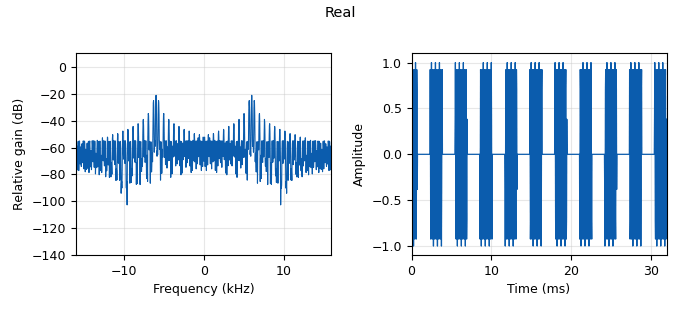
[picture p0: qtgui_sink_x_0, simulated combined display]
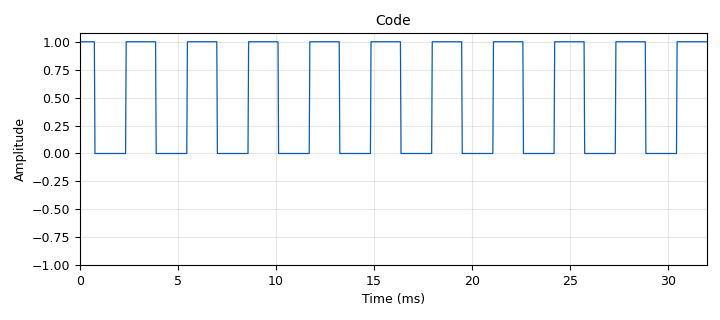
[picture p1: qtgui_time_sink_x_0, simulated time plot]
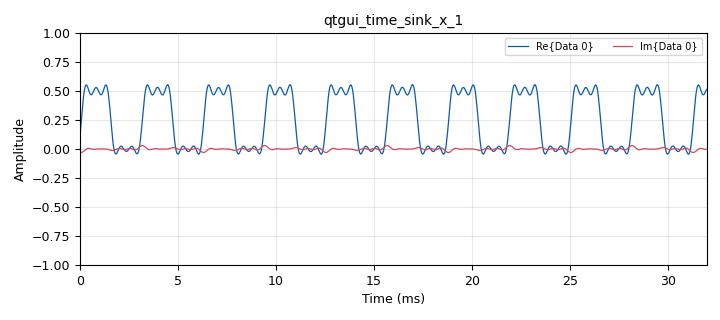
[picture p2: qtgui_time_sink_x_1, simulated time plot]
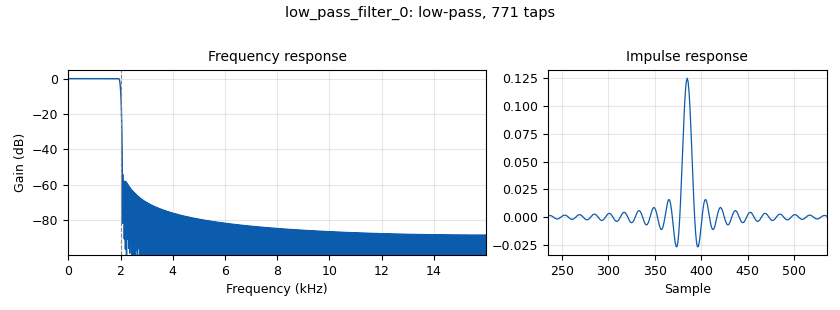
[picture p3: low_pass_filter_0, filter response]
options:
  parameters:
    generate_options: qt_gui
    id: constant
    output_language: python
    title: 01-01 - Sound of the silence
  states: {}

blocks:
- name: samp_rate
  id: variable
  parameters:
    value: '32000'
  states: {}
- name: volume
  id: variable_qtgui_range
  parameters:
    label: Volume
    start: '0'
    step: '0.01'
    stop: '1'
    value: '0'
  states: {}
- name: analog_const_source_x_0
  id: analog_const_source_x
  parameters:
    const: '0'
    type: float
  states: {}
- name: analog_sig_source_x_0
  id: analog_sig_source_x
  parameters:
    amp: '1'
    freq: '6000'
    offset: '0'
    phase: '0'
    samp_rate: samp_rate
    type: float
    waveform: analog.GR_COS_WAVE
  states: {}
- name: analog_sig_source_x_1
  id: analog_sig_source_x
  parameters:
    amp: '1'
    freq: '6000'
    offset: '0'
    phase: '0'
    samp_rate: samp_rate
    type: complex
    waveform: analog.GR_COS_WAVE
  states: {}
- name: audio_sink_0
  id: audio_sink
  parameters:
    device_name: pulse
    samp_rate: samp_rate
  states: {}
- name: blocks_float_to_complex_0
  id: blocks_float_to_complex
  parameters: {}
  states: {}
- name: blocks_multiply_const_vxx_0
  id: blocks_multiply_const_vxx
  parameters:
    const: volume
    type: float
  states: {}
- name: blocks_multiply_xx_0
  id: blocks_multiply_xx
  parameters:
    type: float
  states: {}
- name: blocks_multiply_xx_1
  id: blocks_multiply_xx
  parameters:
    type: complex
  states: {}
- name: blocks_throttle2_0
  id: blocks_throttle2
  parameters:
    samples_per_second: samp_rate
    type: float
  states: {}
- name: blocks_throttle2_1
  id: blocks_throttle2
  parameters:
    samples_per_second: samp_rate
    type: complex
  states: {}
- name: blocks_vector_source_x_0
  id: blocks_vector_source_x
  parameters:
    repeat: 'True'
    type: float
    vector: (0,0,0,0,0,0,0,0,0,0,0,0,0,0,0,0,0,0,0,0,0,0,0,0,0,0,0,0,0,0,0,0,0,0,0,0,0,0,0,0,0,0,0,0,0,0,0,0,0,0,0,1,1,1,1,1,1,1,1,1,1,1,1,1,1,1,1,1,1,1,1,1,1,1,1,1,1,1,1,1,1,1,1,1,1,1,1,1,1,1,1,1,1,1,1,1,1,1,1,1)
  states: {}
- name: low_pass_filter_0
  id: low_pass_filter
  parameters:
    cutoff_freq: 2e3
    decim: '1'
    gain: '1'
    samp_rate: samp_rate
    type: fir_filter_ccf
    width: '100'
    win: window.WIN_HAMMING
  states: {}
- name: qtgui_sink_x_0
  id: qtgui_sink_x
  parameters:
    bw: samp_rate
    fc: '0'
    fftsize: '1024'
    gui_hint: tabs@0
    name: Real
    type: float
  states: {}
- name: qtgui_time_sink_x_0
  id: qtgui_time_sink_x
  parameters:
    gui_hint: tabs@0
    name: Code
    size: '1024'
    srate: samp_rate
    type: float
  states: {}
- name: qtgui_time_sink_x_1
  id: qtgui_time_sink_x
  parameters:
    gui_hint: tabs@1
    size: '1024'
    srate: samp_rate
    tr_level: '0.2'
    tr_mode: qtgui.TRIG_MODE_NORM
    type: complex
  states: {}
- name: tabs
  id: qtgui_tab_widget
  parameters:
    label0: Modulated
    label1: Demodulated
    num_tabs: '2'
  states: {}

connections:
- [analog_const_source_x_0, '0', blocks_float_to_complex_0, '1']
- [analog_sig_source_x_0, '0', blocks_throttle2_0, '0']
- [analog_sig_source_x_1, '0', blocks_throttle2_1, '0']
- [blocks_float_to_complex_0, '0', blocks_multiply_xx_1, '0']
- [blocks_multiply_const_vxx_0, '0', audio_sink_0, '0']
- [blocks_multiply_xx_0, '0', blocks_float_to_complex_0, '0']
- [blocks_multiply_xx_0, '0', blocks_multiply_const_vxx_0, '0']
- [blocks_multiply_xx_0, '0', qtgui_sink_x_0, '0']
- [blocks_multiply_xx_1, '0', low_pass_filter_0, '0']
- [blocks_throttle2_0, '0', blocks_multiply_xx_0, '0']
- [blocks_throttle2_1, '0', blocks_multiply_xx_1, '1']
- [blocks_vector_source_x_0, '0', blocks_multiply_xx_0, '1']
- [blocks_vector_source_x_0, '0', qtgui_time_sink_x_0, '0']
- [low_pass_filter_0, '0', qtgui_time_sink_x_1, '0']

metadata:
  file_format: 1
  grc_version: 3.10.12.0
